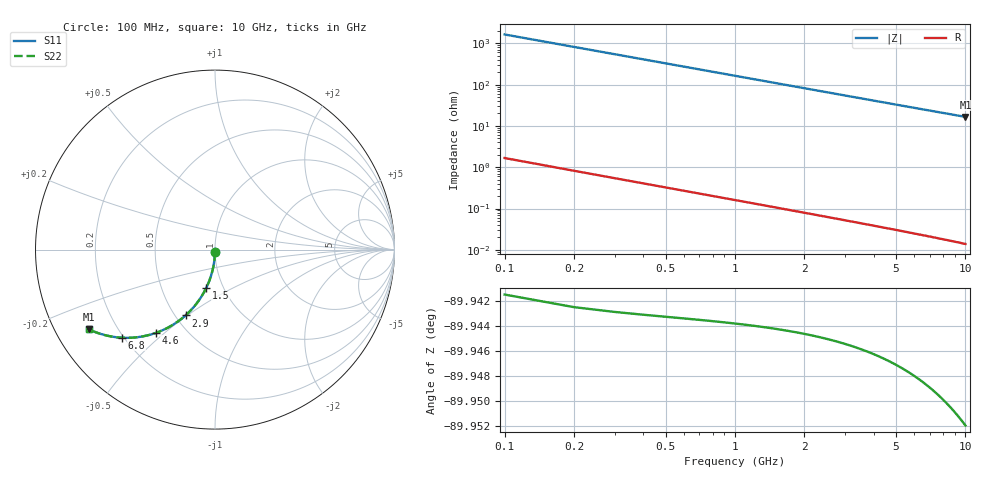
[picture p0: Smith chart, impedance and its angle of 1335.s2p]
# Hz S RI R 50.00
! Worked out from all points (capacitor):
!   100 points, 100 MHz to 10 GHz, reference 50 ohm
!   read as one part in shunt: C = 972 fF near 100 MHz
!   lowest |Z| = 16.6 ohm at 10 GHz (marker M1)
!   S11 on the Smith chart (normalised r, x): 100 MHz: 1.00, -0.03; 1.5 GHz: 0.83, -0.38; 2.9 GHz: 0.56, -0.49; 4.6 GHz: 0.34, -0.47; 6.8 GHz: 0.19, -0.38; 10 GHz: 0.10, -0.29
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1e8  -0.000135 -0.0151  0.9996 -0.0154  0.9996 -0.0154  -0.000135 -0.0151
2e8  -0.000848 -0.0303  0.9989 -0.0308  0.9989 -0.0308  -0.000848 -0.0303
3e8  -0.00203 -0.0454  0.9977 -0.0461  0.9977 -0.0461  -0.00203 -0.0454
4e8  -0.00366 -0.0604  0.9961 -0.0613  0.9961 -0.0613  -0.00366 -0.0604
5e8  -0.00576 -0.0753  0.994 -0.0765  0.994 -0.0765  -0.00576 -0.0753
6e8  -0.0083 -0.0901  0.9915 -0.0916  0.9915 -0.0916  -0.0083 -0.0901
7e8  -0.0113 -0.1048  0.9885 -0.1065  0.9885 -0.1065  -0.0113 -0.1048
9e8  -0.0186 -0.1338  0.9812 -0.136  0.9812 -0.136  -0.0186 -0.1338
1.2e9  -0.0325 -0.1758  0.9672 -0.1787  0.9672 -0.1787  -0.0325 -0.1758
1.5e9  -0.0499 -0.2158  0.9498 -0.2194  0.9498 -0.2194  -0.0499 -0.2158
1.8e9  -0.0704 -0.2533  0.9294 -0.2576  0.9294 -0.2576  -0.0704 -0.2533
2.3e9  -0.11 -0.3098  0.8898 -0.3153  0.8898 -0.3153  -0.11 -0.3098
2.9e9  -0.1642 -0.3666  0.8355 -0.3736  0.8355 -0.3736  -0.1642 -0.3666
3.4e9  -0.2126 -0.4047  0.7871 -0.4129  0.7871 -0.4129  -0.2126 -0.4047
4e9  -0.2721 -0.4398  0.7276 -0.4494  0.7276 -0.4494  -0.2721 -0.4398
4.6e9  -0.3309 -0.4645  0.6688 -0.4756  0.6688 -0.4756  -0.3309 -0.4645
5.1e9  -0.3781 -0.4783  0.6216 -0.4906  0.6216 -0.4906  -0.3781 -0.4783
5.9e9  -0.4488 -0.4897  0.5508 -0.504  0.5508 -0.504  -0.4488 -0.4897
6.7e9  -0.5124 -0.4912  0.4872 -0.5074  0.4872 -0.5074  -0.5124 -0.4912
6.8e9  -0.5198 -0.4908  0.4798 -0.5073  0.4798 -0.5073  -0.5198 -0.4908
8.4e9  -0.6233 -0.4738  0.3762 -0.4942  0.3762 -0.4942  -0.6233 -0.4738
1e10  -0.7016 -0.4447  0.2978 -0.4691  0.2978 -0.4691  -0.7016 -0.4447
